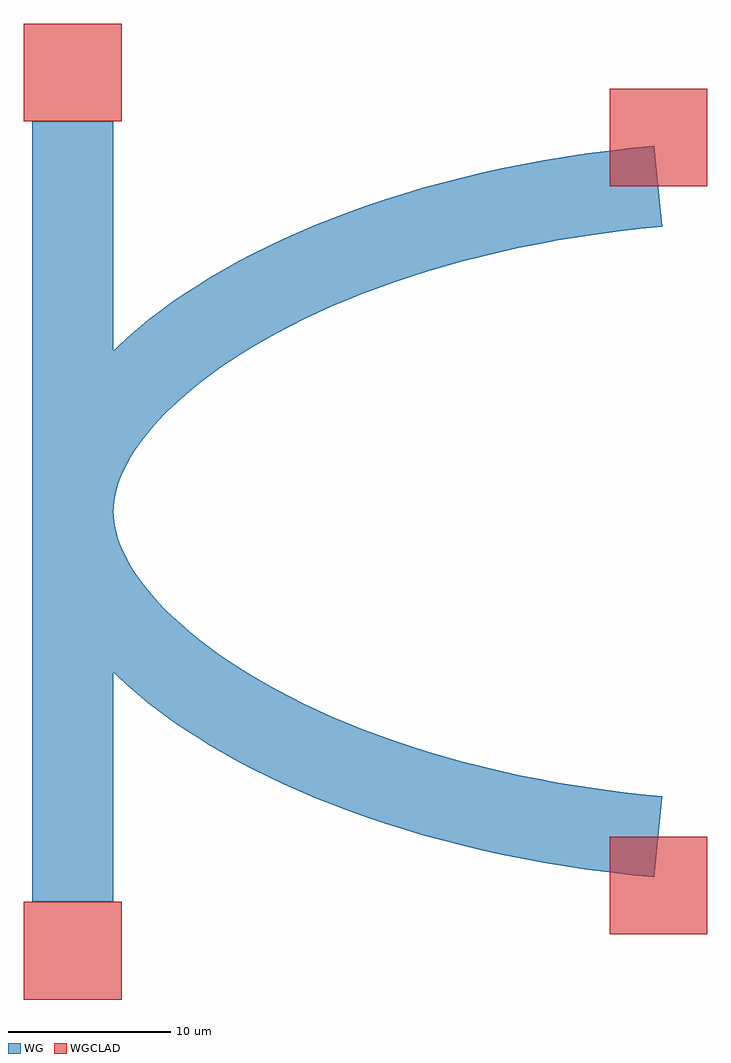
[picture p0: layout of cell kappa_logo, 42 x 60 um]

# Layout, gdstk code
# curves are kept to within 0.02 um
import gdstk
lib = gdstk.Library(unit=1e-6, precision=1e-09)
def R(c, l, rs):  # rectangles x0, y0, x1, y1
    for r in rs: c.add(gdstk.rectangle(r[:2], r[2:], *l))
def P(c, l, *ps):  # polygons
    for p in ps: c.add(gdstk.Polygon(p, *l))
WG = (1, 0)
WGCLAD = (2, 0)

kappa_logo = lib.new_cell('kappa_logo')
R(kappa_logo, WG, [(11.5,8,16.5,56)])
P(kappa_logo, WG, [(16.498,31.91),(11.502,32.09),(11.525,32.682),(11.597,33.361),(11.716,34.035),(11.879,34.704),(12.084,35.365),(12.614,36.665),(13.293,37.931),(14.112,39.165),(15.062,40.367),(16.139,41.537),(17.339,42.675),(17.984,43.232),(19.362,44.322),(20.856,45.376),(21.646,45.89),(23.309,46.888),(25.083,47.844),(26.964,48.757),(28.951,49.621),(29.983,50.034),(32.124,50.819),(33.232,51.191),(35.522,51.889),(37.908,52.524),(40.388,53.092),(41.663,53.349),(42.96,53.588),(45.621,54.009),(46.984,54.19),(49.753,54.488),(50.247,49.512),(47.6,49.228),(46.319,49.058),(43.824,48.664),(42.611,48.44),(40.252,47.943),(37.989,47.383),(36.893,47.081),(34.777,46.436),(32.763,45.739),(31.795,45.374),(29.939,44.61),(27.36,43.393),(26.556,42.971),(25.036,42.106),(24.32,41.665),(22.978,40.769),(22.353,40.315),(21.196,39.4),(20.165,38.483),(19.263,37.569),(18.861,37.116),(18.155,36.225),(17.581,35.359),(17.135,34.528),(16.814,33.742),(16.609,33.007),(16.512,32.324)],
  [(49.753,9.512),(46.984,9.81),(45.621,9.991),(42.96,10.412),(41.663,10.651),(40.388,10.908),(37.908,11.476),(36.703,11.785),(34.365,12.452),(33.232,12.809),(31.041,13.567),(29.983,13.966),(27.944,14.805),(26.964,15.243),(25.083,16.156),(23.309,17.112),(22.464,17.606),(21.646,18.11),(20.095,19.146),(19.362,19.678),(17.984,20.768),(17.339,21.325),(16.139,22.463),(15.062,23.633),(14.571,24.23),(14.112,24.835),(13.293,26.069),(12.614,27.335),(12.33,27.981),(12.084,28.635),(11.879,29.296),(11.716,29.965),(11.597,30.639),(11.525,31.318),(11.502,31.91),(16.498,32.09),(16.548,31.341),(16.697,30.632),(16.959,29.871),(17.342,29.061),(17.852,28.212),(18.492,27.332),(19.263,26.431),(20.165,25.517),(21.196,24.6),(22.353,23.685),(22.978,23.231),(24.32,22.335),(26.556,21.029),(29.051,19.787),(31.795,18.626),(33.757,17.906),(34.777,17.564),(36.893,16.919),(39.109,16.33),(40.252,16.057),(42.611,15.56),(45.061,15.13),(47.6,14.772),(50.247,14.488)])
R(kappa_logo, WGCLAD, [(11,2,17,8), (47,6,53,12), (47,52,53,58), (11,56,17,62)])

lib.write_gds('kappa_logo.gds')
